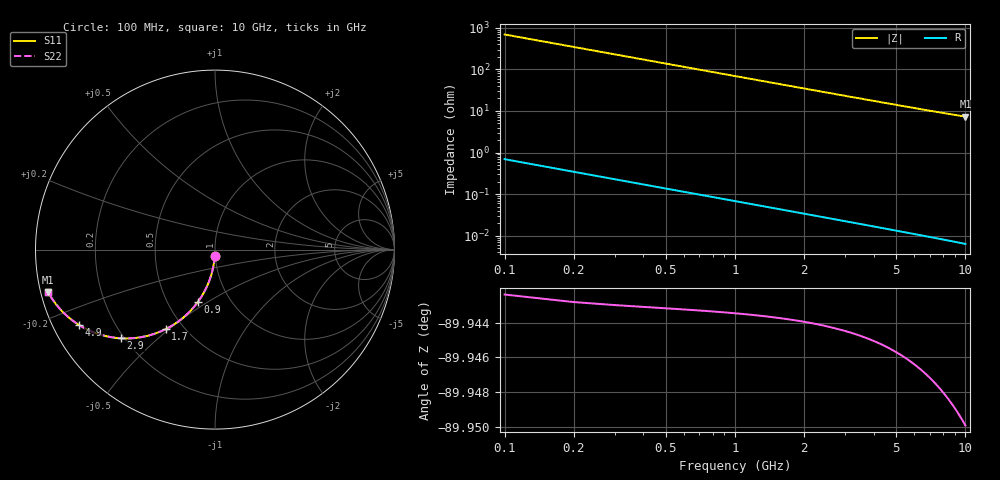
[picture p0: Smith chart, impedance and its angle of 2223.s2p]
# Hz S RI R 50.00
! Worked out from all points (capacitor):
!   100 points, 100 MHz to 10 GHz, reference 50 ohm
!   read as one part in shunt: C = 2.31 pF near 100 MHz
!   lowest |Z| = 7.28 ohm at 10 GHz (marker M1)
!   S11 on the Smith chart (normalised r, x): 100 MHz: 0.99, -0.07; 900 MHz: 0.70, -0.46; 1.7 GHz: 0.40, -0.49; 2.9 GHz: 0.19, -0.39; 4.9 GHz: 0.08, -0.26; 10 GHz: 0.02, -0.13
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1e8  -0.00132 -0.036  0.9986 -0.0364  0.9986 -0.0364  -0.00132 -0.036
2e8  -0.00527 -0.0718  0.9947 -0.0724  0.9947 -0.0724  -0.00527 -0.0718
3e8  -0.0118 -0.1069  0.9882 -0.1079  0.9882 -0.1079  -0.0118 -0.1069
4e8  -0.0207 -0.1413  0.9793 -0.1426  0.9793 -0.1426  -0.0207 -0.1413
5e8  -0.0319 -0.1746  0.968 -0.1762  0.968 -0.1762  -0.0319 -0.1746
6e8  -0.0453 -0.2065  0.9547 -0.2085  0.9547 -0.2085  -0.0453 -0.2065
7e8  -0.0606 -0.237  0.9393 -0.2393  0.9393 -0.2393  -0.0606 -0.237
9e8  -0.0963 -0.2931  0.9037 -0.296  0.9037 -0.296  -0.0963 -0.2931
1.1e9  -0.1372 -0.3418  0.8627 -0.3454  0.8627 -0.3454  -0.1372 -0.3418
1.3e9  -0.1816 -0.3829  0.8183 -0.3872  0.8183 -0.3872  -0.1816 -0.3829
1.7e9  -0.2749 -0.4432  0.7251 -0.4487  0.7251 -0.4487  -0.2749 -0.4432
1.8e9  -0.2981 -0.454  0.7018 -0.4599  0.7018 -0.4599  -0.2981 -0.454
2.3e9  -0.4092 -0.4874  0.5907 -0.495  0.5907 -0.495  -0.4092 -0.4874
2.9e9  -0.5238 -0.4942  0.4761 -0.5037  0.4761 -0.5037  -0.5238 -0.4942
3.4e9  -0.6017 -0.4834  0.3982 -0.4947  0.3982 -0.4947  -0.6017 -0.4834
4.1e9  -0.687 -0.4563  0.3128 -0.47  0.3128 -0.47  -0.687 -0.4563
4.9e9  -0.7582 -0.4194  0.2416 -0.4358  0.2416 -0.4358  -0.7582 -0.4194
5.1e9  -0.7725 -0.4101  0.2273 -0.4272  0.2273 -0.4272  -0.7725 -0.4101
5.9e9  -0.8197 -0.3738  0.18 -0.3937  0.18 -0.3937  -0.8197 -0.3738
6.7e9  -0.8545 -0.3406  0.1452 -0.3633  0.1452 -0.3633  -0.8545 -0.3406
8.4e9  -0.9026 -0.2812  0.0969 -0.3101  0.0969 -0.3101  -0.9026 -0.2812
1e10  -0.9296 -0.2373  0.0697 -0.2721  0.0697 -0.2721  -0.9296 -0.2373
